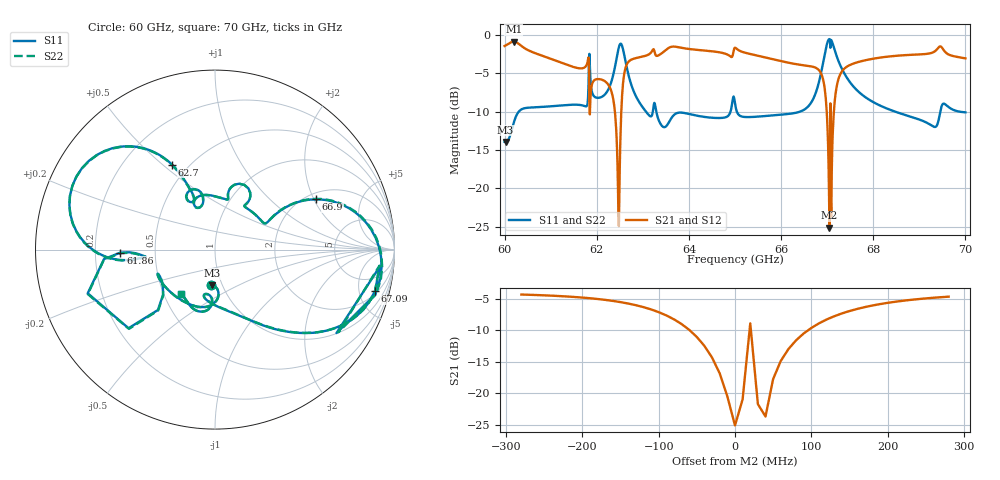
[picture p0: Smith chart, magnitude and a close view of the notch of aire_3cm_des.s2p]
! TOUCHSTONE file generated by CST MICROWAVE STUDIO
! Date and time: Wed Feb 21 23:55:44 2024
! Project name: aire_des.cst
! Header version: 2018
! Port assignment regex: !\s*Touchstone port\s*([0-9]+)\s*=\s*(CST MWS port|CST DS port)\s*([0-9]+|Zmin|Zmax)\s*\(\"(.*)\"\)(\s*mode\s*([0-9]+))?.*
! Touchstone port assignment:
! Touchstone port 1 = CST MWS port 1 ("")
! Touchstone port 2 = CST MWS port 2 ("")
# GHz S MA R 376.7
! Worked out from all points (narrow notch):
!   1001 points, 60 GHz to 70 GHz, reference 376.7 ohm
!   highest |S21| = -0.90 dB at 60.2 GHz (marker M1); lowest = -25.1 dB at 67.05 GHz (marker M2)
!   notch at M2: 22.2 dB deep, 47.8 MHz wide at half that depth
!   lowest |S11| = -14.0 dB at 60.02 GHz (marker M3), VSWR 1.50, Z = 337 - j140 ohm
!   |S11| at or under -10 dB: 63.29 GHz to 64.9 GHz (1.611 GHz wide, 2.51 % of centre); 65.04 GHz to 66.42 GHz (1.378 GHz wide, 2.1 % of centre); 68.47 GHz to 69.46 GHz (988 MHz wide, 1.43 % of centre)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
!   |S22| runs from -14.0 to -0.6 dB; largest |S21 - S12| = 0.005
!   S11 on the Smith chart (normalised r, x): 60 GHz: 0.89, -0.37; 61.86 GHz: 0.31, -0.01; 62.7 GHz: 0.41, +0.54; 66.9 GHz: 2.24, +2.08; 67.09 GHz: 2.31, -7.04; 70 GHz: 0.61, -0.34
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60  0.2006 -95.9  0.8433 176.4  0.8438 176.4  0.2004 -95.8
60.02  0.2001 -94.6  0.8492 176.2  0.8497 176.2  0.2001 -94.5
60.2  0.2682 -86.7  0.9017 170.3  0.901 170.4  0.2687 -86.4
61.67  0.3474 -157.1  0.6033 159.3  0.604 159.2  0.3473 -156.8
61.86  0.5274 -178.2  0.3715 161.4  0.3718 161.3  0.5281 -177.8
62.3  0.4767 -173.1  0.4425 152.1  0.4421 152.0  0.4774 -172.8
62.38  0.5865 -175.4  0.3436 143.4  0.3428 143.3  0.5876 -175.2
62.47  0.8058 169.5  0.06594 163.3  0.06535 164.1  0.8064 169.6
62.57  0.8026 135.2  0.4819 -125.7  0.4817 -125.7  0.8015 135.3
62.7  0.5301 116.8  0.6712 -154.4  0.671 -154.4  0.529 117.0
63.34  0.28 103.4  0.7331 -176.8  0.7333 -176.7  0.2791 103.8
65  0.3571 56.5  0.8219 164.8  0.822 164.8  0.3568 56.5
66.67  0.3685 29.4  0.62 143.2  0.6196 143.2  0.3678 29.7
66.9  0.6288 26.5  0.5266 119.6  0.5266 119.5  0.6323 26.6
66.97  0.8057 15.1  0.3848 98.8  0.3843 98.7  0.8082 15.3
67.05  0.9351 -10.1  0.05559 -0.8  0.05576 -0.4  0.9386 -9.9
67.09  0.9206 -14.6  0.06544 -87.7  0.06481 -87.9  0.9213 -14.5
67.18  0.7652 -36.2  0.407 -142.2  0.4075 -142.3  0.7674 -36.0
67.3  0.6168 -48.0  0.5636 -163.5  0.5637 -163.4  0.6178 -47.8
68.34  0.3267 -84.4  0.7206 168.3  0.7203 168.3  0.3266 -83.9
69.43  0.2891 -93.0  0.8318 157.6  0.8318 157.6  0.2909 -92.9
70  0.3125 -127.4  0.7006 149.6  0.701 149.5  0.3122 -127.1
